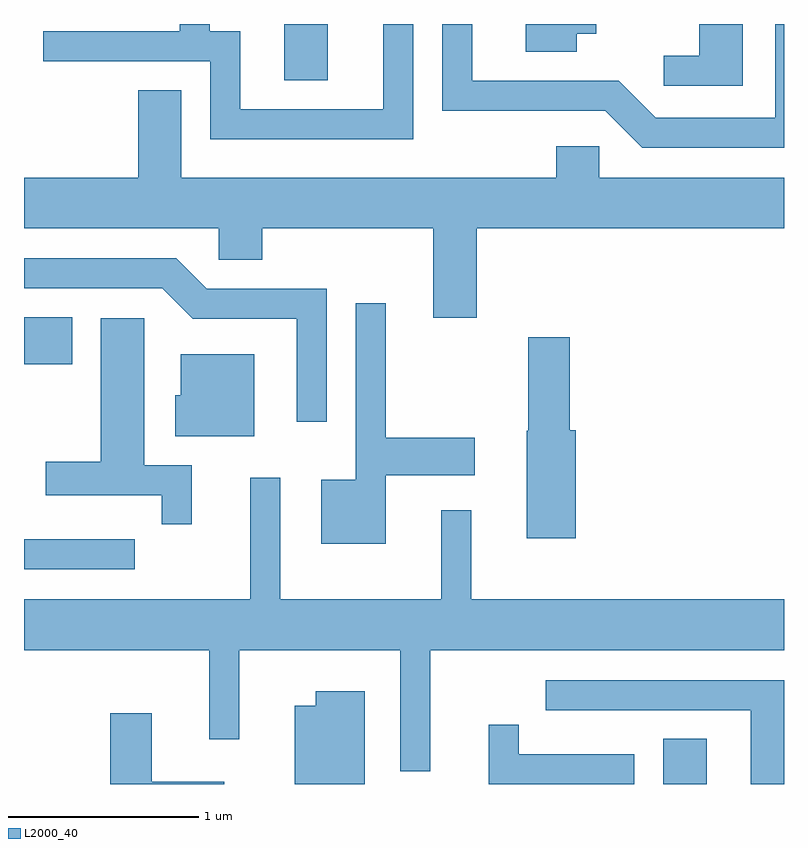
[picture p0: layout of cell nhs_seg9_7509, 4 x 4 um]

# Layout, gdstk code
import gdstk
lib = gdstk.Library(unit=1e-6, precision=1e-09)
def R(c, l, rs):  # rectangles x0, y0, x1, y1
    for r in rs: c.add(gdstk.rectangle(r[:2], r[2:], *l))
def P(c, l, *ps):  # polygons
    for p in ps: c.add(gdstk.Polygon(p, *l))
L2000_40 = (2000, 40)

nhs_seg9_7509 = lib.new_cell('nhs_seg9_7509')
R(nhs_seg9_7509, L2000_40, [(410.976,2004.432,411.204,2004.669), (407.611,2005.561,408.193,2005.719), (407.611,2006.641,407.864,2006.889), (408.981,2008.136,409.209,2008.432)])
P(nhs_seg9_7509, L2000_40, [(409.659,2008.432),(409.501,2008.432),(409.501,2007.984),(408.749,2007.984),(408.749,2008.394),(408.589,2008.394),(408.589,2008.432),(408.431,2008.432),(408.431,2008.394),(407.713,2008.394),(407.713,2008.236),(408.591,2008.236),(408.591,2007.826),(409.659,2007.826)],
  [(411.394,2008.432),(411.166,2008.432),(411.166,2008.264),(410.978,2008.264),(410.978,2008.106),(411.394,2008.106)],
  [(411.611,2008.432),(411.566,2008.432),(411.566,2007.939),(410.937,2007.939),(410.742,2008.134),(409.969,2008.134),(409.969,2008.432),(409.811,2008.432),(409.811,2007.976),(410.669,2007.976),(410.864,2007.781),(411.611,2007.781)],
  [(410.519,2008.381),(410.624,2008.381),(410.624,2008.432),(410.251,2008.432),(410.251,2008.286),(410.519,2008.286)],
  [(409.994,2007.356),(411.611,2007.356),(411.611,2007.624),(410.639,2007.624),(410.639,2007.789),(410.411,2007.789),(410.411,2007.624),(408.439,2007.624),(408.439,2008.084),(408.211,2008.084),(408.211,2007.624),(407.611,2007.624),(407.611,2007.356),(408.636,2007.356),(408.636,2007.191),(408.864,2007.191),(408.864,2007.356),(409.766,2007.356),(409.766,2006.886),(409.994,2006.886)],
  [(409.204,2007.039),(408.572,2007.039),(408.412,2007.199),(407.611,2007.199),(407.611,2007.041),(408.339,2007.041),(408.499,2006.881),(409.046,2006.881),(409.046,2006.338),(409.204,2006.338)],
  [(409.514,2006.056),(409.984,2006.056),(409.984,2006.254),(409.514,2006.254),(409.514,2006.963),(409.356,2006.963),(409.356,2006.034),(409.176,2006.034),(409.176,2005.696),(409.514,2005.696)],
  [(408.494,2006.109),(408.244,2006.109),(408.244,2006.884),(408.016,2006.884),(408.016,2006.129),(407.726,2006.129),(407.726,2005.951),(408.336,2005.951),(408.336,2005.798),(408.494,2005.798)],
  [(410.514,2006.294),(410.484,2006.294),(410.484,2006.784),(410.266,2006.784),(410.266,2006.29),(410.256,2006.29),(410.256,2005.726),(410.514,2005.726)],
  [(408.824,2006.694),(408.436,2006.694),(408.436,2006.479),(408.406,2006.479),(408.406,2006.261),(408.824,2006.261)],
  [(409.749,2005.136),(411.611,2005.136),(411.611,2005.404),(409.964,2005.404),(409.964,2005.873),(409.806,2005.873),(409.806,2005.404),(408.959,2005.404),(408.959,2006.043),(408.801,2006.043),(408.801,2005.404),(407.611,2005.404),(407.611,2005.136),(408.586,2005.136),(408.586,2004.668),(408.744,2004.668),(408.744,2005.136),(409.591,2005.136),(409.591,2004.498),(409.749,2004.498)],
  [(411.611,2004.979),(410.358,2004.979),(410.358,2004.821),(411.436,2004.821),(411.436,2004.432),(411.611,2004.432)],
  [(409.404,2004.919),(409.146,2004.919),(409.146,2004.844),(409.036,2004.844),(409.036,2004.432),(409.404,2004.432)],
  [(408.664,2004.444),(408.284,2004.444),(408.284,2004.804),(408.066,2004.804),(408.066,2004.432),(408.664,2004.432)],
  [(410.824,2004.589),(410.214,2004.589),(410.214,2004.743),(410.056,2004.743),(410.056,2004.432),(410.824,2004.432)])

lib.write_gds('nhs_seg9_7509.gds')
